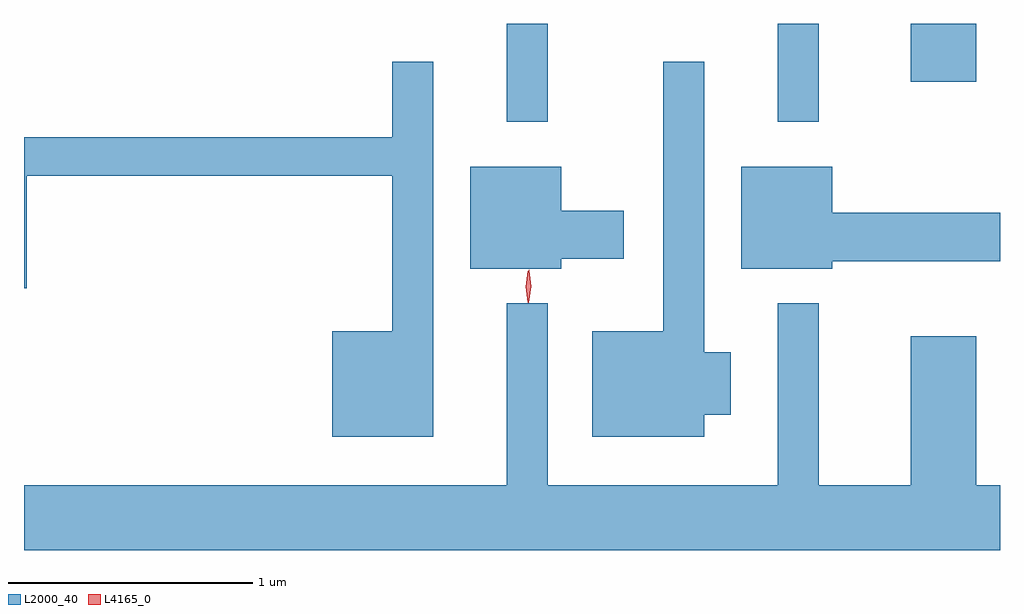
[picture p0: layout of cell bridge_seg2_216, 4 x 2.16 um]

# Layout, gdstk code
import gdstk
lib = gdstk.Library(unit=1e-6, precision=1e-09)
def R(c, l, rs):  # rectangles x0, y0, x1, y1
    for r in rs: c.add(gdstk.rectangle(r[:2], r[2:], *l))
def P(c, l, *ps):  # polygons
    for p in ps: c.add(gdstk.Polygon(p, *l))
L2000_40 = (2000, 40)
L4165_0 = (4165, 0)

bridge_seg2_216 = lib.new_cell('bridge_seg2_216')
R(bridge_seg2_216, L2000_40, [(593.041,1103.353,593.209,1103.755), (594.151,1103.353,594.319,1103.755), (594.696,1103.516,594.964,1103.755)])
P(bridge_seg2_216, L2000_40, [(592.739,1103.598),(592.571,1103.598),(592.571,1103.289),(591.062,1103.289),(591.062,1102.671),(591.074,1102.671),(591.074,1103.131),(592.571,1103.131),(592.571,1102.494),(592.326,1102.494),(592.326,1102.061),(592.739,1102.061)],
  [(593.849,1102.151),(593.959,1102.151),(593.959,1102.409),(593.849,1102.409),(593.849,1103.598),(593.681,1103.598),(593.681,1102.494),(593.391,1102.494),(593.391,1102.061),(593.849,1102.061)],
  [(593.264,1102.791),(593.519,1102.791),(593.519,1102.989),(593.264,1102.989),(593.264,1103.169),(592.891,1103.169),(592.891,1102.751),(593.264,1102.751)],
  [(594.374,1102.781),(595.062,1102.781),(595.062,1102.979),(594.374,1102.979),(594.374,1103.169),(594.001,1103.169),(594.001,1102.751),(594.374,1102.751)],
  [(595.062,1101.864),(594.964,1101.864),(594.964,1102.474),(594.696,1102.474),(594.696,1101.864),(594.319,1101.864),(594.319,1102.608),(594.151,1102.608),(594.151,1101.864),(593.209,1101.864),(593.209,1102.608),(593.041,1102.608),(593.041,1101.864),(591.062,1101.864),(591.062,1101.596),(595.062,1101.596)])
P(bridge_seg2_216, L4165_0, [(593.127,1102.613),(593.118,1102.676),(593.127,1102.74),(593.128,1102.74),(593.128,1102.74),(593.138,1102.676),(593.128,1102.613),(593.128,1102.613)],
  [(593.129,1102.61),(593.121,1102.678),(593.131,1102.745),(593.132,1102.746),(593.132,1102.745),(593.141,1102.678),(593.13,1102.61),(593.13,1102.61)])

lib.write_gds('bridge_seg2_216.gds')
